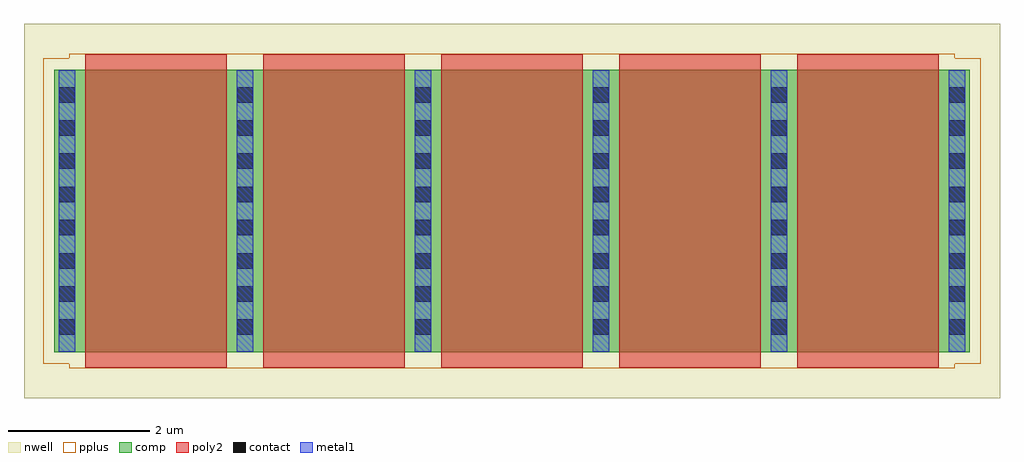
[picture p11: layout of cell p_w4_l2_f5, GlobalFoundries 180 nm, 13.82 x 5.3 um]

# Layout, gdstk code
import gdstk
lib = gdstk.Library(unit=1e-6, precision=1e-09)
def R(c, l, rs):  # rectangles x0, y0, x1, y1
    for r in rs: c.add(gdstk.rectangle(r[:2], r[2:], *l))
def A(c, l, x, y, w, h, nx, ny, dx, dy):  # array of equal rectangles
    R(c, l, [(x+i*dx, y+j*dy, x+i*dx+w, y+j*dy+h) for i in range(nx) for j in range(ny)])
nwell = (21, 0)
comp = (22, 0)
poly2 = (30, 0)
pplus = (31, 0)
contact = (33, 0)
metal1 = (34, 0)

p_w4_l2_f5 = lib.new_cell('p_w4_l2_f5')
R(p_w4_l2_f5, nwell, [(-6.91,-2.65,6.91,2.65)])
R(p_w4_l2_f5, comp, [(-6.48,-2,6.48,2)])
A(p_w4_l2_f5, poly2, -6.04, -2.22, 2, 4.44, 5, 1, 2.52, 0)
R(p_w4_l2_f5, pplus, [(-6.27,-2.23,6.27,-2.16), (-6.64,-2.16,6.64,2.16), (-6.27,2.16,6.27,2.23)])
A(p_w4_l2_f5, contact, -6.41, -1.755, 0.22, 0.22, 6, 8, 2.52, 0.47)
A(p_w4_l2_f5, metal1, -6.415, -1.99, 0.23, 3.98, 6, 1, 2.52, 0)

lib.write_gds('p_w4_l2_f5.gds')
